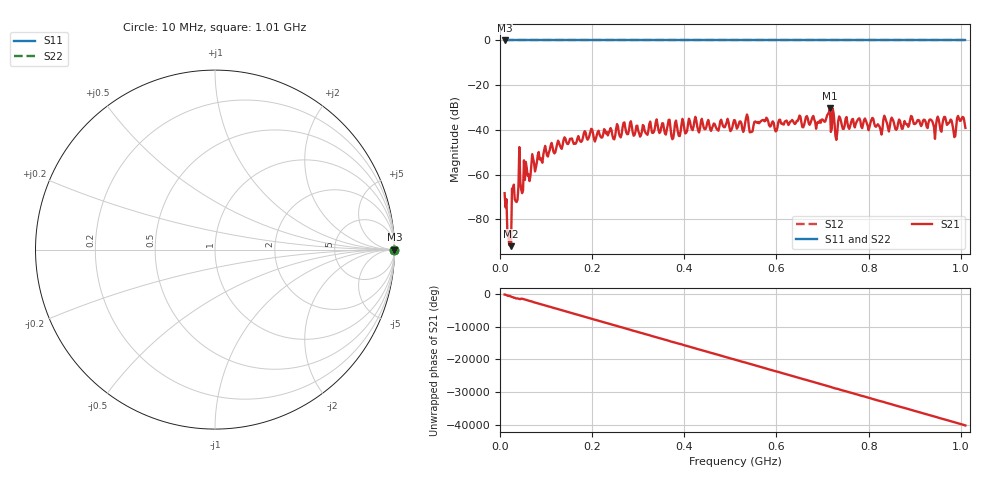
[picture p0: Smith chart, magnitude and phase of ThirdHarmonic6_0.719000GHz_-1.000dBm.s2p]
! 8/16/2025 12:03:02 AM
! C:\ANRITSUVNA\TEMP\TEMP.S2P
! CHANNEL.1
! TR.MEASUREMENT
! RAW.DATA
! RF.CORRECTION.OFF
! AVERAGING.OFF
! IF.BANDWIDTH: 5KHZ
! SWEEPTYPE:  FREQ.SWEEP(Linear)
! Reference Plane Port Info
! PORT:  PORT1  PORT2
! DISTANCE:  0  m  0  m
! TIME:  0  s  0  s
! PHASE.OFFSET:  0  deg.  0  deg.
! LOSS:  0  dB  0  dB
! REF.LOSS:  0  dB  0  dB
! REF.FREQ:  0  Hz  0  Hz
! Power Info
! POWER:  -20  dBm  -20  dBm
! EFF.POWER:  -20  dBm  -20  dBm
! SOURCE.ATTEN:  0  dB  0  dB
! TEST.ATTEN:  0  dB  0  dB
# GHZ S RI R 50.0
! FREQ.GHZ  S11RE  S11IM  S21RE  S21IM  S12RE  S12IM  S22RE  S22IM
!; PortSelection: Port_12
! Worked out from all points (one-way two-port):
!   501 points, 10 MHz to 1.01 GHz, reference 50 ohm
!   highest |S21| = -30.32 dB at 716 MHz (marker M1); lowest = -92.1 dB at 24 MHz (marker M2)
!   lowest |S11| = 0.0 dB at 10 MHz (marker M3)
!   |S11| at or under -10 dB: nowhere
!   |S22| runs from 0.0 to 0.0 dB; largest |S21 - S12| = 1
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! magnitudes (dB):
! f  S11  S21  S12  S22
! 10 MHz  0.0  -68.3  0.0  0.0
! 20 MHz  0.0  -91.6  0.0  0.0
! 24 MHz  0.0  -92.1  0.0  0.0
! 30 MHz  0.0  -64.5  0.0  0.0
! 36 MHz  0.0  -72.3  0.0  0.0
! 56 MHz  0.0  -54.3  0.0  0.0
! 64 MHz  0.0  -62.9  0.0  0.0
! 70 MHz  0.0  -50.9  0.0  0.0
! 110 MHz  0.0  -46.9  0.0  0.0
! 178 MHz  0.0  -45.0  0.0  0.0
! 344 MHz  0.0  -40.1  0.0  0.0
! 510 MHz  0.0  -35.8  0.0  0.0
! 536 MHz  0.0  -33.1  0.0  0.0
! 544 MHz  0.0  -41.0  0.0  0.0
! 576 MHz  0.0  -36.0  0.0  0.0
! 598 MHz  0.0  -40.7  0.0  0.0
! 678 MHz  0.0  -34.3  0.0  0.0
! 716 MHz  0.0  -30.3  0.0  0.0
! 730 MHz  0.0  -44.5  0.0  0.0
! 738 MHz  0.0  -34.6  0.0  0.0
! 844 MHz  0.0  -40.7  0.0  0.0
! 1.01 GHz  0.0  -39.2  0.0  0.0
